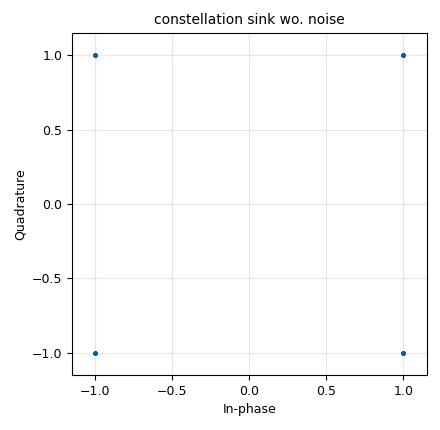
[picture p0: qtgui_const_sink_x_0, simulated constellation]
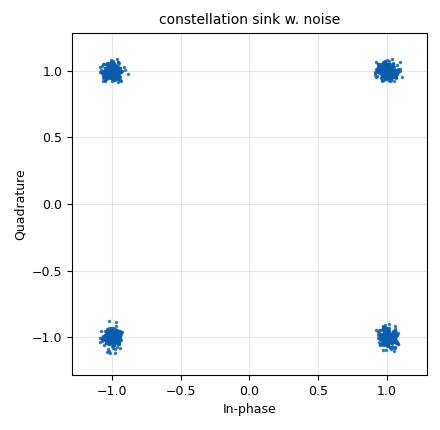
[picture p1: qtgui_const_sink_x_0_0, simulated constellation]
options:
  parameters:
    author: mzemlo.pl@gmail.com
    generate_options: qt_gui
    id: bpsk_01
    output_language: python
    title: BPSK 01
  states: {}

blocks:
- name: datarate
  id: variable
  parameters:
    value: '16000'
  states: {}
- name: samp_rate
  id: variable
  parameters:
    value: '32000'
  states: {}
- name: analog_noise_source_x_0
  id: analog_noise_source_x
  parameters:
    alias: '"noise"'
    amp: '0.05'
    noise_type: analog.GR_GAUSSIAN
    seed: '0'
    type: complex
  states: {}
- name: blocks_add_const_vxx_0
  id: blocks_add_const_vxx
  parameters:
    const: '-1'
    type: float
  states: {}
- name: blocks_add_const_vxx_0_0
  id: blocks_add_const_vxx
  parameters:
    const: '-1'
    type: float
  states: {}
- name: blocks_add_xx_0
  id: blocks_add_xx
  parameters:
    type: complex
  states: {}
- name: blocks_float_to_complex_0
  id: blocks_float_to_complex
  parameters: {}
  states: {}
- name: blocks_multiply_const_vxx_0
  id: blocks_multiply_const_vxx
  parameters:
    const: '2'
    type: float
  states: {}
- name: blocks_multiply_const_vxx_0_0
  id: blocks_multiply_const_vxx
  parameters:
    const: '2'
    type: float
  states: {}
- name: blocks_vector_source_x_0
  id: blocks_vector_source_x
  parameters:
    alias: '"i bits"'
    repeat: 'True'
    type: float
    vector: ( 0 , 1 , 1 , 0 )
  states: {}
- name: blocks_vector_source_x_0_0
  id: blocks_vector_source_x
  parameters:
    alias: '"q bits"'
    repeat: 'True'
    type: float
    vector: ( 0 , 0 , 1 , 1 )
  states: {}
- name: qtgui_const_sink_x_0
  id: qtgui_const_sink_x
  parameters:
    autoscale: 'True'
    name: '"constellation sink wo. noise"'
    size: '1024'
    type: complex
  states: {}
- name: qtgui_const_sink_x_0_0
  id: qtgui_const_sink_x
  parameters:
    autoscale: 'True'
    name: '"constellation sink w. noise"'
    size: '1024'
    type: complex
  states: {}

connections:
- [analog_noise_source_x_0, '0', blocks_add_xx_0, '0']
- [blocks_add_const_vxx_0, '0', blocks_float_to_complex_0, '0']
- [blocks_add_const_vxx_0_0, '0', blocks_float_to_complex_0, '1']
- [blocks_add_xx_0, '0', qtgui_const_sink_x_0_0, '0']
- [blocks_float_to_complex_0, '0', blocks_add_xx_0, '1']
- [blocks_float_to_complex_0, '0', qtgui_const_sink_x_0, '0']
- [blocks_multiply_const_vxx_0, '0', blocks_add_const_vxx_0, '0']
- [blocks_multiply_const_vxx_0_0, '0', blocks_add_const_vxx_0_0, '0']
- [blocks_vector_source_x_0, '0', blocks_multiply_const_vxx_0, '0']
- [blocks_vector_source_x_0_0, '0', blocks_multiply_const_vxx_0_0, '0']

metadata:
  file_format: 1
  grc_version: 3.10.9.2
